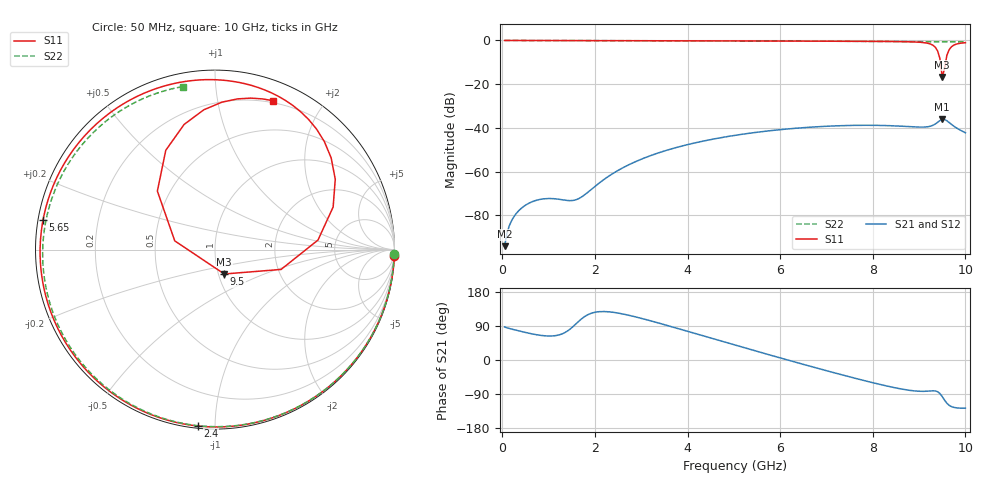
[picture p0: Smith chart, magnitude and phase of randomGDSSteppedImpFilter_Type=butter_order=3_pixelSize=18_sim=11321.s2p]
! freq	dB(S11)	phase(S11)	dB(S12)	phase(S12)
!  dB(S21)	phase(S21)	dB(S22)	phase(S22)
!S-par simulation data
#  GHz  S  DB  R 50
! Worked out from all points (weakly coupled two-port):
!   200 points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, 50 MHz to 10 GHz, reference 50 ohm
!   highest |S21| = -36.14 dB at 9.5 GHz (marker M1); lowest = -94.2 dB at 50 MHz (marker M2)
!   lowest |S11| = -16.8 dB at 9.5 GHz (marker M3), VSWR 1.34, Z = 53.3 - j14.8 ohm
!   |S11| at or under -10 dB: 9.46 GHz to 9.573 GHz (113.2 MHz wide, 1.19 % of centre)
!   |S22| runs from -0.7 to 0.0 dB; largest |S21 - S12| = 0
!   S11 on the Smith chart (normalised r, x): 50 MHz: 0, -53; 2.4 GHz: 0.01, -0.91; 5.65 GHz: 0.01, +0.09; 9.5 GHz: 1.07, -0.30; 10 GHz: 0.18, +1.45
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0.05  -0.00 -2.1  -94.16 87.2  -94.16 87.2  -0.01 -1.5
0.25  -0.02 -10.8  -80.70 80.1  -80.70 80.1  -0.02 -7.0
0.75  -0.04 -32.3  -73.08 66.5  -73.08 66.5  -0.03 -21.0
1.5  -0.08 -62.7  -73.29 85.2  -73.29 85.2  -0.05 -41.6
1.75  -0.09 -72.3  -71.09 112.2  -71.09 112.2  -0.06 -48.3
2.4  -0.11 -95.6  -60.75 125.8  -60.75 125.8  -0.08 -65.4
3.4  -0.14 -127.7  -51.27 96.7  -51.27 96.7  -0.12 -90.5
4.2  -0.17 -150.8  -46.70 68.6  -46.70 68.6  -0.15 -109.8
5.05  -0.21 -173.9  -43.35 38.6  -43.35 38.6  -0.19 -129.7
5.65  -0.24 170.2  -41.63 17.6  -41.63 17.6  -0.23 -143.6
6.7  -0.31 141.9  -39.63 -18.2  -39.63 -18.2  -0.31 -168.2
8.35  -0.47 91.3  -39.00 -69.9  -39.00 -69.9  -0.47 150.1
9  -0.79 61.5  -39.65 -82.5  -39.65 -82.5  -0.55 131.8
9.3  -2.20 30.3  -38.83 -81.3  -38.83 -81.3  -0.58 123.0
9.4  -4.79 5.3  -37.49 -83.7  -37.49 -83.7  -0.59 119.9
9.45  -8.30 -16.7  -36.68 -88.5  -36.68 -88.5  -0.60 118.4
9.5  -16.75 -69.2  -36.14 -96.5  -36.14 -96.5  -0.61 116.9
9.55  -12.79 167.8  -36.18 -106.0  -36.18 -106.0  -0.61 115.3
9.6  -6.79 134.6  -36.76 -114.1  -36.76 -114.1  -0.62 113.8
9.7  -2.87 103.8  -38.45 -123.0  -38.45 -123.0  -0.63 110.6
9.8  -1.70 87.4  -39.95 -126.1  -39.95 -126.1  -0.65 107.5
10  -1.01 68.7  -42.25 -127.2  -42.25 -127.2  -0.67 101.1
